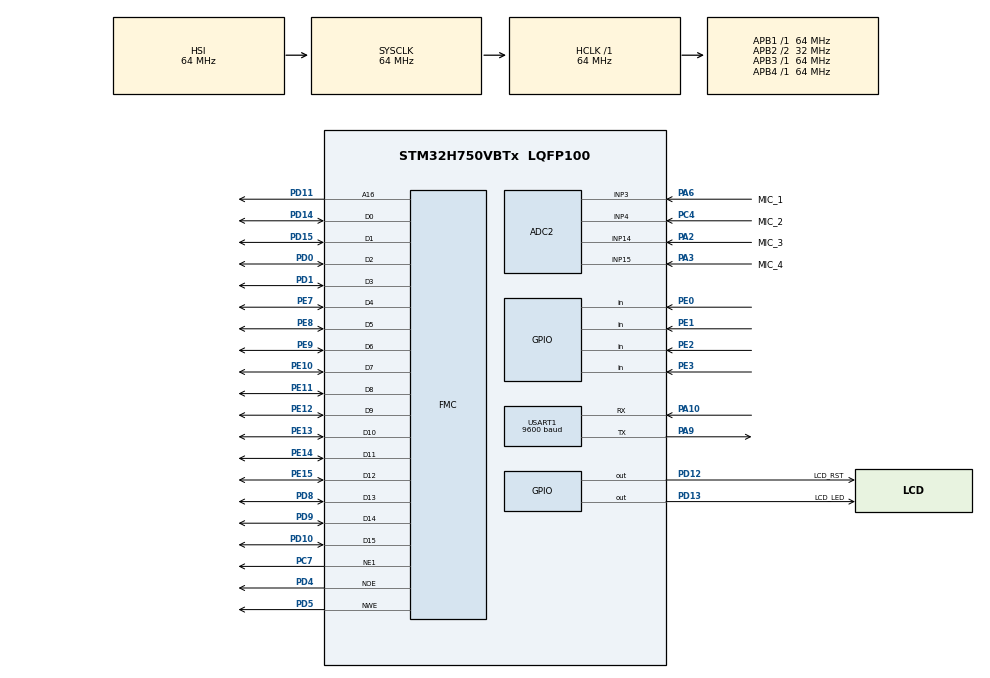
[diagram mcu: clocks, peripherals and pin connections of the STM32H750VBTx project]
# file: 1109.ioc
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ADC2.Channel-1\#ChannelRegularConversion=ADC_CHANNEL_3
ADC2.Channel-2\#ChannelRegularConversion=ADC_CHANNEL_4
ADC2.Channel-3\#ChannelRegularConversion=ADC_CHANNEL_14
ADC2.Channel-4\#ChannelRegularConversion=ADC_CHANNEL_15
ADC2.ContinuousConvMode=ENABLE
ADC2.NbrOfConversion=4
ADC2.NbrOfConversionFlag=1
ADC2.OffsetNumber-2\#ChannelRegularConversion=ADC_OFFSET_NONE
ADC2.OffsetNumber-3\#ChannelRegularConversion=ADC_OFFSET_NONE
ADC2.OffsetNumber-4\#ChannelRegularConversion=ADC_OFFSET_NONE
ADC2.OffsetSignedSaturation-2\#ChannelRegularConversion=DISABLE
ADC2.OffsetSignedSaturation-3\#ChannelRegularConversion=DISABLE
ADC2.OffsetSignedSaturation-4\#ChannelRegularConversion=DISABLE
ADC2.Rank-2\#ChannelRegularConversion=2
ADC2.Rank-3\#ChannelRegularConversion=3
ADC2.Rank-4\#ChannelRegularConversion=4
ADC2.SamplingTime-1\#ChannelRegularConversion=ADC_SAMPLETIME_16CYCLES_5
ADC2.SamplingTime-2\#ChannelRegularConversion=ADC_SAMPLETIME_16CYCLES_5
ADC2.SamplingTime-3\#ChannelRegularConversion=ADC_SAMPLETIME_16CYCLES_5
ADC2.SamplingTime-4\#ChannelRegularConversion=ADC_SAMPLETIME_16CYCLES_5
CORTEX_M7.default_mode_Activation=1
Dma.ADC2.2.Direction=DMA_PERIPH_TO_MEMORY
Dma.ADC2.2.EventEnable=DISABLE
Dma.ADC2.2.FIFOMode=DMA_FIFOMODE_DISABLE
Dma.ADC2.2.Instance=DMA1_Stream2
Dma.ADC2.2.MemDataAlignment=DMA_MDATAALIGN_WORD
Dma.ADC2.2.MemInc=DMA_MINC_ENABLE
Dma.ADC2.2.Mode=DMA_CIRCULAR
Dma.ADC2.2.PeriphDataAlignment=DMA_PDATAALIGN_WORD
Dma.ADC2.2.PeriphInc=DMA_PINC_DISABLE
Dma.ADC2.2.Polarity=HAL_DMAMUX_REQ_GEN_RISING
Dma.ADC2.2.Priority=DMA_PRIORITY_VERY_HIGH
Dma.ADC2.2.RequestNumber=1
Dma.ADC2.2.SignalID=NONE
Dma.ADC2.2.SyncEnable=DISABLE
Dma.ADC2.2.SyncPolarity=HAL_DMAMUX_SYNC_NO_EVENT
Dma.ADC2.2.SyncRequestNumber=1
Dma.ADC2.2.SyncSignalID=NONE
Dma.Request0=USART1_RX
Dma.Request1=USART1_TX
Dma.Request2=ADC2
Dma.USART1_RX.0.Direction=DMA_PERIPH_TO_MEMORY
Dma.USART1_RX.0.EventEnable=DISABLE
Dma.USART1_RX.0.FIFOMode=DMA_FIFOMODE_DISABLE
Dma.USART1_RX.0.Instance=DMA1_Stream0
Dma.USART1_RX.0.MemDataAlignment=DMA_MDATAALIGN_BYTE
Dma.USART1_RX.0.MemInc=DMA_MINC_ENABLE
Dma.USART1_RX.0.Mode=DMA_NORMAL
Dma.USART1_RX.0.PeriphDataAlignment=DMA_PDATAALIGN_BYTE
Dma.USART1_RX.0.PeriphInc=DMA_PINC_DISABLE
Dma.USART1_RX.0.Polarity=HAL_DMAMUX_REQ_GEN_RISING
Dma.USART1_RX.0.Priority=DMA_PRIORITY_LOW
Dma.USART1_RX.0.RequestNumber=1
Dma.USART1_RX.0.SignalID=NONE
Dma.USART1_RX.0.SyncEnable=DISABLE
Dma.USART1_RX.0.SyncPolarity=HAL_DMAMUX_SYNC_NO_EVENT
Dma.USART1_RX.0.SyncRequestNumber=1
Dma.USART1_RX.0.SyncSignalID=NONE
Dma.USART1_TX.1.Direction=DMA_MEMORY_TO_PERIPH
Dma.USART1_TX.1.EventEnable=DISABLE
Dma.USART1_TX.1.FIFOMode=DMA_FIFOMODE_DISABLE
Dma.USART1_TX.1.Instance=DMA1_Stream1
Dma.USART1_TX.1.MemDataAlignment=DMA_MDATAALIGN_BYTE
Dma.USART1_TX.1.MemInc=DMA_MINC_ENABLE
Dma.USART1_TX.1.Mode=DMA_NORMAL
Dma.USART1_TX.1.PeriphDataAlignment=DMA_PDATAALIGN_BYTE
Dma.USART1_TX.1.PeriphInc=DMA_PINC_DISABLE
Dma.USART1_TX.1.Polarity=HAL_DMAMUX_REQ_GEN_RISING
Dma.USART1_TX.1.Priority=DMA_PRIORITY_LOW
Dma.USART1_TX.1.RequestNumber=1
Dma.USART1_TX.1.SignalID=NONE
Dma.USART1_TX.1.SyncEnable=DISABLE
Dma.USART1_TX.1.SyncPolarity=HAL_DMAMUX_SYNC_NO_EVENT
Dma.USART1_TX.1.SyncRequestNumber=1
Dma.USART1_TX.1.SyncSignalID=NONE
FMC.BusTurnAroundDuration1=1
FMC.DataSetupTime1=77
FMC.ExtendedAddressSetupTime1=5
FMC.ExtendedBusTurnAroundDuration1=1
FMC.ExtendedDataSetupTime1=5
FMC.ExtendedMode1=FMC_EXTENDED_MODE_ENABLE
Mcu.Family=STM32H7
Mcu.Name=STM32H750VBTx
Mcu.Package=LQFP100
NVIC.ADC_IRQn=true\:0\:0\:false\:false\:true\:true\:true\:true
NVIC.DMA1_Stream0_IRQn=true\:0\:0\:false\:false\:true\:false\:true\:true
NVIC.DMA1_Stream1_IRQn=true\:0\:0\:false\:false\:true\:false\:true\:true
NVIC.DMA1_Stream2_IRQn=true\:0\:0\:false\:false\:true\:false\:true\:true
NVIC.PriorityGroup=NVIC_PRIORITYGROUP_4
NVIC.USART1_IRQn=true\:0\:0\:false\:false\:true\:true\:true\:true
PA10.Mode=Asynchronous
PA10.Signal=USART1_RX
PA2.GPIO_Label=MIC_3
PA2.Signal=ADCx_INP14
PA3.GPIO_Label=MIC_4
PA3.Signal=ADCx_INP15
PA6.GPIO_Label=MIC_1
PA6.Signal=ADCx_INP3
PA9.Mode=Asynchronous
PA9.Signal=USART1_TX
PC4.GPIO_Label=MIC_2
PC4.Signal=ADCx_INP4
PC7.Mode=NorPsramChipSelect1_1
PC7.Signal=FMC_NE1
PD0.Signal=FMC_D2_DA2
PD1.Signal=FMC_D3_DA3
PD10.Signal=FMC_D15_DA15
PD11.Signal=FMC_A16_CLE
PD12.GPIO_Label=LCD_RST
PD12.Signal=GPIO_Output
PD13.GPIO_Label=LCD_LED
PD13.Signal=GPIO_Output
PD14.Signal=FMC_D0_DA0
PD15.Signal=FMC_D1_DA1
PD4.Signal=FMC_NOE
PD5.Signal=FMC_NWE
PD8.Signal=FMC_D13_DA13
PD9.Signal=FMC_D14_DA14
PE0.GPIO_PuPd=GPIO_PULLUP
PE0.Signal=GPIO_Input
PE1.GPIO_PuPd=GPIO_PULLUP
PE1.Signal=GPIO_Input
PE10.Signal=FMC_D7_DA7
PE11.Signal=FMC_D8_DA8
PE12.Signal=FMC_D9_DA9
PE13.Signal=FMC_D10_DA10
PE14.Signal=FMC_D11_DA11
PE15.Signal=FMC_D12_DA12
PE2.GPIO_PuPd=GPIO_PULLUP
PE2.Signal=GPIO_Input
PE3.GPIO_PuPd=GPIO_PULLUP
PE3.Signal=GPIO_Input
PE7.Signal=FMC_D4_DA4
PE8.Signal=FMC_D5_DA5
PE9.Signal=FMC_D6_DA6
ProjectManager.HeapSize=0x200
ProjectManager.StackSize=0x400
ProjectManager.TargetToolchain=MDK-ARM V5.32
RCC.ADCFreq_Value=13333333.333333334
RCC.APB1Freq_Value=64000000
RCC.APB2Freq_Value=32000000
RCC.APB3Freq_Value=64000000
RCC.APB4Freq_Value=64000000
RCC.CortexFreq_Value=64000000
RCC.D2PPRE2=RCC_APB2_DIV2
RCC.DIVM2=4
RCC.DIVN2=10
RCC.DIVP2=12
RCC.HCLKFreq_Value=64000000
RCC.PLL2FRACN=0
RCC.SYSCLKFreq_VALUE=64000000
RCC.USBFreq_Value=129000000
SH.ADCx_INP14.0=ADC2_INP14,IN14-Single-Ended
SH.ADCx_INP15.0=ADC2_INP15,IN15-Single-Ended
SH.ADCx_INP3.0=ADC2_INP3,IN3-Single-Ended
SH.ADCx_INP4.0=ADC2_INP4,IN4-Single-Ended
SH.FMC_A16_CLE.0=FMC_A16,A16_1
SH.FMC_D0_DA0.0=FMC_D0,16b-d1
SH.FMC_D10_DA10.0=FMC_D10,16b-d1
SH.FMC_D11_DA11.0=FMC_D11,16b-d1
SH.FMC_D12_DA12.0=FMC_D12,16b-d1
SH.FMC_D13_DA13.0=FMC_D13,16b-d1
SH.FMC_D14_DA14.0=FMC_D14,16b-d1
SH.FMC_D15_DA15.0=FMC_D15,16b-d1
SH.FMC_D1_DA1.0=FMC_D1,16b-d1
SH.FMC_D2_DA2.0=FMC_D2,16b-d1
SH.FMC_D3_DA3.0=FMC_D3,16b-d1
SH.FMC_D4_DA4.0=FMC_D4,16b-d1
SH.FMC_D5_DA5.0=FMC_D5,16b-d1
SH.FMC_D6_DA6.0=FMC_D6,16b-d1
SH.FMC_D7_DA7.0=FMC_D7,16b-d1
SH.FMC_D8_DA8.0=FMC_D8,16b-d1
SH.FMC_D9_DA9.0=FMC_D9,16b-d1
SH.FMC_NOE.0=FMC_NOE,Lcd1
SH.FMC_NWE.0=FMC_NWE,Lcd1
USART1.BaudRate=9600
USART1.VirtualMode-Asynchronous=VM_ASYNC
VP_MEMORYMAP_VS_MEMORYMAP.Mode=CurAppReg
board=custom

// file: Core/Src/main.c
/* USER CODE BEGIN Header */
/**
  ******************************************************************************
  * @file           : main.c
  * @brief          : Main program body
  ******************************************************************************
  * @attention
  *
  * Copyright (c) 2024 STMicroelectronics.
  * All rights reserved.
  *
  * This software is licensed under terms that can be found in the LICENSE file
  * in the root directory of this software component.
  * If no LICENSE file comes with this software, it is provided AS-IS.
  *
  ******************************************************************************
  */
/* USER CODE END Header */
#include "main.h"

/* USER CODE BEGIN Includes */

//	头文件包含
#include "system.h"
#include "delay.h"
#include "usart.h"
#include "math.h"
#include <stdio.h>
#include "adc.h"
#include "dma.h"
#include "lcd.h"
#include "led.h"

//----------------------------------------------------------

//	自定义参数

/* USER CODE END Includes */

ADC_HandleTypeDef hadc2;
DMA_HandleTypeDef hdma_adc2;

UART_HandleTypeDef huart1;
DMA_HandleTypeDef hdma_usart1_rx;
DMA_HandleTypeDef hdma_usart1_tx;

SRAM_HandleTypeDef hsram1;

void SystemClock_Config(void);
static void MPU_Config(void);
static void MX_GPIO_Init(void);
static void MX_DMA_Init(void);
static void MX_ADC2_Init(void);
static void MX_USART1_UART_Init(void);
static void MX_FMC_Init(void);

int main(void)
{

  /* MPU Configuration--------------------------------------------------------*/
  MPU_Config();

  /* MCU Configuration--------------------------------------------------------*/

  /* Reset of all peripherals, Initializes the Flash interface and the Systick. */
  HAL_Init();

  /* USER CODE BEGIN Init */
	CPU_CACHE_Enable();			// 启用CPU缓存

  /* USER CODE END Init */

  /* Configure the system clock */
  SystemClock_Config();

  /* Initialize all configured peripherals */
  MX_GPIO_Init();
  MX_DMA_Init();
  MX_ADC2_Init();
  MX_USART1_UART_Init();
  MX_FMC_Init();
  /* USER CODE BEGIN 2 */

	//代码开始区
	HAL_Init();          			// 初始化HAL库
	MPU_Memory_Protection();	// MPU内存保护
	SysTick_clkconfig(400); 	// SysTick参数配置
	LED_Init();           	// 初始化LED
	LCD_Init();           	// LCD初始化
	BACK_COLOR=WHITE;       // 背景色
	POINT_COLOR=BLACK; 			// 笔画颜色
  LCD_Clear(WHITE);       // 清屏

  HAL_UART_Receive_IT(&huart1, aRxBuffer, 1);		// 启动 UART 接收中断
  HAL_ADC_Start_DMA(&hadc2, (uint32_t*)adc_buffer, 4);

	LCD_Fill(120, 120, 130, 130, RED);

//	// "请选择模式" 按钮
//	LCD_Fill(90, 38, 90 + 5 * 31 - 1, 38 + 33 - 1, YELLOW);
//	LCD_ShowChinese(90, 38, HZ_NI[8], 30, 0);
//	LCD_ShowChinese(120, 38, HZ_NI[9], 30, 0);
//	LCD_ShowChinese(150, 38, HZ_NI[10], 30, 0);
//	LCD_ShowChinese(180, 38, HZ_NI[11], 30, 0);
//	LCD_ShowChinese(210, 38, HZ_NI[12], 30, 0);

	//代码结束区

  /* USER CODE END 2 */

  /* Infinite loop */
  /* USER CODE BEGIN WHILE */

	//代码开始区
	while(1){

			 LCD_Fill(150, 150, 160, 160, YELLOW);
		   Update_LCD_Display();

	}                      // while end

	//代码结束区

    /* USER CODE END WHILE */

}

void SystemClock_Config(void)
{
  RCC_OscInitTypeDef RCC_OscInitStruct = {0};
  RCC_ClkInitTypeDef RCC_ClkInitStruct = {0};

  /** Supply configuration update enable
  */
  HAL_PWREx_ConfigSupply(PWR_LDO_SUPPLY);

  /** Configure the main internal regulator output voltage
  */
  __HAL_PWR_VOLTAGESCALING_CONFIG(PWR_REGULATOR_VOLTAGE_SCALE3);

  while(!__HAL_PWR_GET_FLAG(PWR_FLAG_VOSRDY)) {}

  /** Macro to configure the PLL clock source
  */
  __HAL_RCC_PLL_PLLSOURCE_CONFIG(RCC_PLLSOURCE_HSI);

  /** Initializes the RCC Oscillators according to the specified parameters
  * in the RCC_OscInitTypeDef structure.
  */
  RCC_OscInitStruct.OscillatorType = RCC_OSCILLATORTYPE_HSI;
  RCC_OscInitStruct.HSIState = RCC_HSI_DIV1;
  RCC_OscInitStruct.HSICalibrationValue = RCC_HSICALIBRATION_DEFAULT;
  RCC_OscInitStruct.PLL.PLLState = RCC_PLL_NONE;
  if (HAL_RCC_OscConfig(&RCC_OscInitStruct) != HAL_OK)
  {
    Error_Handler();
  }

  /** Initializes the CPU, AHB and APB buses clocks
  */
  RCC_ClkInitStruct.ClockType = RCC_CLOCKTYPE_HCLK|RCC_CLOCKTYPE_SYSCLK
                              |RCC_CLOCKTYPE_PCLK1|RCC_CLOCKTYPE_PCLK2
                              |RCC_CLOCKTYPE_D3PCLK1|RCC_CLOCKTYPE_D1PCLK1;
  RCC_ClkInitStruct.SYSCLKSource = RCC_SYSCLKSOURCE_HSI;
  RCC_ClkInitStruct.SYSCLKDivider = RCC_SYSCLK_DIV1;
  RCC_ClkInitStruct.AHBCLKDivider = RCC_HCLK_DIV1;
  RCC_ClkInitStruct.APB3CLKDivider = RCC_APB3_DIV1;
  RCC_ClkInitStruct.APB1CLKDivider = RCC_APB1_DIV1;
  RCC_ClkInitStruct.APB2CLKDivider = RCC_APB2_DIV2;
  RCC_ClkInitStruct.APB4CLKDivider = RCC_APB4_DIV1;

  if (HAL_RCC_ClockConfig(&RCC_ClkInitStruct, FLASH_LATENCY_1) != HAL_OK)
  {
    Error_Handler();
  }
}

static void MX_ADC2_Init(void)
{

  ADC_ChannelConfTypeDef sConfig = {0};

  /** Common config
  */
  hadc2.Instance = ADC2;
  hadc2.Init.ScanConvMode = ADC_SCAN_ENABLE;
  hadc2.Init.EOCSelection = ADC_EOC_SINGLE_CONV;
  hadc2.Init.LowPowerAutoWait = DISABLE;
  hadc2.Init.ContinuousConvMode = ENABLE;
  hadc2.Init.NbrOfConversion = 4;
  hadc2.Init.DiscontinuousConvMode = DISABLE;
  hadc2.Init.ExternalTrigConv = ADC_SOFTWARE_START;
  hadc2.Init.ExternalTrigConvEdge = ADC_EXTERNALTRIGCONVEDGE_NONE;
  hadc2.Init.ConversionDataManagement = ADC_CONVERSIONDATA_DR;
  hadc2.Init.Overrun = ADC_OVR_DATA_PRESERVED;
  hadc2.Init.LeftBitShift = ADC_LEFTBITSHIFT_NONE;
  hadc2.Init.OversamplingMode = DISABLE;
  hadc2.Init.Oversampling.Ratio = 1;
  if (HAL_ADC_Init(&hadc2) != HAL_OK)
  {
    Error_Handler();
  }
  hadc2.Init.ClockPrescaler = ADC_CLOCK_ASYNC_DIV1;
  hadc2.Init.Resolution = ADC_RESOLUTION_16B;
  if (HAL_ADC_Init(&hadc2) != HAL_OK)
  {
    Error_Handler();
  }

  /** Configure Regular Channel
  */
  sConfig.Channel = ADC_CHANNEL_3;
  sConfig.Rank = ADC_REGULAR_RANK_1;
  sConfig.SamplingTime = ADC_SAMPLETIME_16CYCLES_5;
  sConfig.SingleDiff = ADC_SINGLE_ENDED;
  sConfig.OffsetNumber = ADC_OFFSET_NONE;
  sConfig.Offset = 0;
  sConfig.OffsetSignedSaturation = DISABLE;
  if (HAL_ADC_ConfigChannel(&hadc2, &sConfig) != HAL_OK)
  {
    Error_Handler();
  }

  /** Configure Regular Channel
  */
  sConfig.Channel = ADC_CHANNEL_4;
  sConfig.Rank = ADC_REGULAR_RANK_2;
  if (HAL_ADC_ConfigChannel(&hadc2, &sConfig) != HAL_OK)
  {
    Error_Handler();
  }

  /** Configure Regular Channel
  */
  sConfig.Channel = ADC_CHANNEL_14;
  sConfig.Rank = ADC_REGULAR_RANK_3;
  if (HAL_ADC_ConfigChannel(&hadc2, &sConfig) != HAL_OK)
  {
    Error_Handler();
  }

  /** Configure Regular Channel
  */
  sConfig.Channel = ADC_CHANNEL_15;
  sConfig.Rank = ADC_REGULAR_RANK_4;
  if (HAL_ADC_ConfigChannel(&hadc2, &sConfig) != HAL_OK)
  {
    Error_Handler();
  }

}

static void MX_USART1_UART_Init(void)
{

  huart1.Instance = USART1;
  huart1.Init.BaudRate = 9600;
  huart1.Init.WordLength = UART_WORDLENGTH_8B;
  huart1.Init.StopBits = UART_STOPBITS_1;
  huart1.Init.Parity = UART_PARITY_NONE;
  huart1.Init.Mode = UART_MODE_TX_RX;
  huart1.Init.HwFlowCtl = UART_HWCONTROL_NONE;
  huart1.Init.OverSampling = UART_OVERSAMPLING_16;
  huart1.Init.OneBitSampling = UART_ONE_BIT_SAMPLE_DISABLE;
  huart1.Init.ClockPrescaler = UART_PRESCALER_DIV1;
  huart1.AdvancedInit.AdvFeatureInit = UART_ADVFEATURE_NO_INIT;
  if (HAL_UART_Init(&huart1) != HAL_OK)
  {
    Error_Handler();
  }
  if (HAL_UARTEx_SetTxFifoThreshold(&huart1, UART_TXFIFO_THRESHOLD_1_8) != HAL_OK)
  {
    Error_Handler();
  }
  if (HAL_UARTEx_SetRxFifoThreshold(&huart1, UART_RXFIFO_THRESHOLD_1_8) != HAL_OK)
  {
    Error_Handler();
  }
  if (HAL_UARTEx_DisableFifoMode(&huart1) != HAL_OK)
  {
    Error_Handler();
  }
  /* USER CODE BEGIN USART1_Init 2 */
 HAL_UART_Receive_IT(&huart1, aRxBuffer, 1);
  /* USER CODE END USART1_Init 2 */

}

static void MX_DMA_Init(void)
{

  /* DMA controller clock enable */
  __HAL_RCC_DMA1_CLK_ENABLE();

  /* DMA interrupt init */
  /* DMA1_Stream0_IRQn interrupt configuration */
  HAL_NVIC_SetPriority(DMA1_Stream0_IRQn, 0, 0);
  HAL_NVIC_EnableIRQ(DMA1_Stream0_IRQn);
  /* DMA1_Stream1_IRQn interrupt configuration */
  HAL_NVIC_SetPriority(DMA1_Stream1_IRQn, 0, 0);
  HAL_NVIC_EnableIRQ(DMA1_Stream1_IRQn);
  /* DMA1_Stream2_IRQn interrupt configuration */
  HAL_NVIC_SetPriority(DMA1_Stream2_IRQn, 0, 0);
  HAL_NVIC_EnableIRQ(DMA1_Stream2_IRQn);

}

/* FMC initialization function */
static void MX_FMC_Init(void)
{

  FMC_NORSRAM_TimingTypeDef Timing = {0};
  FMC_NORSRAM_TimingTypeDef ExtTiming = {0};

  /** Perform the SRAM1 memory initialization sequence
  */
  hsram1.Instance = FMC_NORSRAM_DEVICE;
  hsram1.Extended = FMC_NORSRAM_EXTENDED_DEVICE;
  /* hsram1.Init */
  hsram1.Init.NSBank = FMC_NORSRAM_BANK1;
  hsram1.Init.DataAddressMux = FMC_DATA_ADDRESS_MUX_DISABLE;
  hsram1.Init.MemoryType = FMC_MEMORY_TYPE_SRAM;
  hsram1.Init.MemoryDataWidth = FMC_NORSRAM_MEM_BUS_WIDTH_16;
  hsram1.Init.BurstAccessMode = FMC_BURST_ACCESS_MODE_DISABLE;
  hsram1.Init.WaitSignalPolarity = FMC_WAIT_SIGNAL_POLARITY_LOW;
  hsram1.Init.WaitSignalActive = FMC_WAIT_TIMING_BEFORE_WS;
  hsram1.Init.WriteOperation = FMC_WRITE_OPERATION_ENABLE;
  hsram1.Init.WaitSignal = FMC_WAIT_SIGNAL_DISABLE;
  hsram1.Init.ExtendedMode = FMC_EXTENDED_MODE_ENABLE;
  hsram1.Init.AsynchronousWait = FMC_ASYNCHRONOUS_WAIT_DISABLE;
  hsram1.Init.WriteBurst = FMC_WRITE_BURST_DISABLE;
  hsram1.Init.ContinuousClock = FMC_CONTINUOUS_CLOCK_SYNC_ONLY;
  hsram1.Init.WriteFifo = FMC_WRITE_FIFO_ENABLE;
  hsram1.Init.PageSize = FMC_PAGE_SIZE_NONE;
  /* Timing */
  Timing.AddressSetupTime = 15;
  Timing.AddressHoldTime = 15;
  Timing.DataSetupTime = 77;
  Timing.BusTurnAroundDuration = 1;
  Timing.CLKDivision = 16;
  Timing.DataLatency = 17;
  Timing.AccessMode = FMC_ACCESS_MODE_A;
  /* ExtTiming */
  ExtTiming.AddressSetupTime = 5;
  ExtTiming.AddressHoldTime = 15;
  ExtTiming.DataSetupTime = 5;
  ExtTiming.BusTurnAroundDuration = 1;
  ExtTiming.CLKDivision = 16;
  ExtTiming.DataLatency = 17;
  ExtTiming.AccessMode = FMC_ACCESS_MODE_A;

  if (HAL_SRAM_Init(&hsram1, &Timing, &ExtTiming) != HAL_OK)
  {
    Error_Handler( );
  }

}

static void MX_GPIO_Init(void)
{
  GPIO_InitTypeDef GPIO_InitStruct = {0};

  /* GPIO Ports Clock Enable */
  __HAL_RCC_GPIOE_CLK_ENABLE();
  __HAL_RCC_GPIOA_CLK_ENABLE();
  __HAL_RCC_GPIOC_CLK_ENABLE();
  __HAL_RCC_GPIOD_CLK_ENABLE();

  /*Configure GPIO pin Output Level */
  HAL_GPIO_WritePin(GPIOD, LCD_RST_Pin|LCD_LED_Pin, GPIO_PIN_RESET);

  /*Configure GPIO pins : PE2 PE3 PE0 PE1 */
  GPIO_InitStruct.Pin = GPIO_PIN_2|GPIO_PIN_3|GPIO_PIN_0|GPIO_PIN_1;
  GPIO_InitStruct.Mode = GPIO_MODE_INPUT;
  GPIO_InitStruct.Pull = GPIO_PULLUP;
  HAL_GPIO_Init(GPIOE, &GPIO_InitStruct);

  /*Configure GPIO pins : LCD_RST_Pin LCD_LED_Pin */
  GPIO_InitStruct.Pin = LCD_RST_Pin|LCD_LED_Pin;
  GPIO_InitStruct.Mode = GPIO_MODE_OUTPUT_PP;
  GPIO_InitStruct.Pull = GPIO_NOPULL;
  GPIO_InitStruct.Speed = GPIO_SPEED_FREQ_LOW;
  HAL_GPIO_Init(GPIOD, &GPIO_InitStruct);

}

 /* MPU Configuration */

void MPU_Config(void)
{
  MPU_Region_InitTypeDef MPU_InitStruct = {0};

  /* Disables the MPU */
  HAL_MPU_Disable();

  /** Initializes and configures the Region and the memory to be protected
  */
  MPU_InitStruct.Enable = MPU_REGION_ENABLE;
  MPU_InitStruct.Number = MPU_REGION_NUMBER0;
  MPU_InitStruct.BaseAddress = 0x0;
  MPU_InitStruct.Size = MPU_REGION_SIZE_4GB;
  MPU_InitStruct.SubRegionDisable = 0x87;
  MPU_InitStruct.TypeExtField = MPU_TEX_LEVEL0;
  MPU_InitStruct.AccessPermission = MPU_REGION_NO_ACCESS;
  MPU_InitStruct.DisableExec = MPU_INSTRUCTION_ACCESS_DISABLE;
  MPU_InitStruct.IsShareable = MPU_ACCESS_SHAREABLE;
  MPU_InitStruct.IsCacheable = MPU_ACCESS_NOT_CACHEABLE;
  MPU_InitStruct.IsBufferable = MPU_ACCESS_NOT_BUFFERABLE;

  HAL_MPU_ConfigRegion(&MPU_InitStruct);
  /* Enables the MPU */
  HAL_MPU_Enable(MPU_PRIVILEGED_DEFAULT);

}

void Error_Handler(void)
{
  __disable_irq();
  while (1)
  {
   }
}
